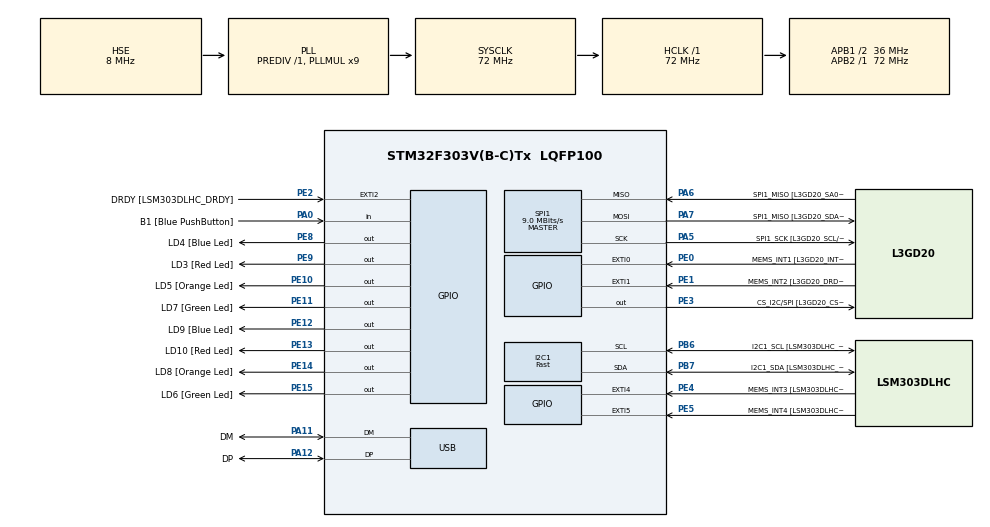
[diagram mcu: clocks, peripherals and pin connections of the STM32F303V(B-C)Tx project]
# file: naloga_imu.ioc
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I2C1.I2C_Speed_Mode=I2C_Fast
I2C1.Timing=0x0000020B
I2C1.Timing-I2C=0x2000090E
Mcu.Family=STM32F3
Mcu.Name=STM32F303V(B-C)Tx
Mcu.Package=LQFP100
NVIC.PriorityGroup=NVIC_PRIORITYGROUP_0
NVIC.USB_LP_CAN_RX0_IRQn=true\:0\:0\:false\:false\:true\:false\:true
PA0.GPIO_Label=B1 [Blue PushButton]
PA0.Signal=GPIO_Input
PA11.GPIO_Label=DM
PA11.Mode=Device
PA11.Signal=USB_DM
PA12.GPIO_Label=DP
PA12.Mode=Device
PA12.Signal=USB_DP
PA13.GPIO_Label=SWDIO
PA13.Mode=Serial_Wire
PA13.Signal=SYS_JTMS-SWDIO
PA14.GPIO_Label=SWCLK
PA14.Mode=Serial_Wire
PA14.Signal=SYS_JTCK-SWCLK
PA5.GPIO_Label=SPI1_SCK [L3GD20_SCL/SPC]
PA5.Mode=Full_Duplex_Master
PA5.Signal=SPI1_SCK
PA6.GPIO_Label=SPI1_MISO [L3GD20_SA0/SDO]
PA6.Mode=Full_Duplex_Master
PA6.Signal=SPI1_MISO
PA7.GPIO_Label=SPI1_MISO [L3GD20_SDA/SDI/SDO]
PA7.Mode=Full_Duplex_Master
PA7.Signal=SPI1_MOSI
PB3.GPIO_Label=SWO
PB3.Signal=SYS_JTDO-TRACESWO
PB6.GPIO_Label=I2C1_SCL [LSM303DLHC_SCL]
PB6.Mode=I2C
PB6.Signal=I2C1_SCL
PB7.GPIO_Label=I2C1_SDA [LSM303DLHC_SDA]
PB7.Mode=I2C
PB7.Signal=I2C1_SDA
PC14-OSC32_IN.GPIO_Label=OSC32_IN
PC14-OSC32_IN.Signal=RCC_OSC32_IN
PC15-OSC32_OUT.GPIO_Label=OSC32_OUT
PC15-OSC32_OUT.Signal=RCC_OSC32_OUT
PE0.GPIO_Label=MEMS_INT1 [L3GD20_INT1]
PE0.GPIO_ModeDefaultEXTI=GPIO_MODE_EVT_RISING
PE0.Signal=GPXTI0
PE1.GPIO_Label=MEMS_INT2 [L3GD20_DRDY/INT2]
PE1.GPIO_ModeDefaultEXTI=GPIO_MODE_EVT_RISING
PE1.Signal=GPXTI1
PE10.GPIO_Label=LD5 [Orange Led]
PE10.Signal=GPIO_Output
PE11.GPIO_Label=LD7 [Green Led]
PE11.Signal=GPIO_Output
PE12.GPIO_Label=LD9 [Blue Led]
PE12.Signal=GPIO_Output
PE13.GPIO_Label=LD10 [Red Led]
PE13.Signal=GPIO_Output
PE14.GPIO_Label=LD8 [Orange Led]
PE14.Signal=GPIO_Output
PE15.GPIO_Label=LD6 [Green Led]
PE15.Signal=GPIO_Output
PE2.GPIO_Label=DRDY [LSM303DLHC_DRDY]
PE2.GPIO_ModeDefaultEXTI=GPIO_MODE_EVT_RISING
PE2.Signal=GPXTI2
PE3.GPIO_Label=CS_I2C/SPI [L3GD20_CS_I2C/SPI]
PE3.Signal=GPIO_Output
PE4.GPIO_Label=MEMS_INT3 [LSM303DLHC_INT1]
PE4.GPIO_ModeDefaultEXTI=GPIO_MODE_EVT_RISING
PE4.Signal=GPXTI4
PE5.GPIO_Label=MEMS_INT4 [LSM303DLHC_INT2]
PE5.GPIO_ModeDefaultEXTI=GPIO_MODE_EVT_RISING
PE5.Signal=GPXTI5
PE8.GPIO_Label=LD4 [Blue Led]
PE8.Signal=GPIO_Output
PE9.GPIO_Label=LD3 [Red Led]
PE9.Signal=GPIO_Output
PF0-OSC_IN.GPIO_Label=OSC_IN
PF0-OSC_IN.Mode=HSE-External-Clock-Source
PF0-OSC_IN.Signal=RCC_OSC_IN
PF1-OSC_OUT.GPIO_Label=OSC_OUT
PF1-OSC_OUT.Signal=RCC_OSC_OUT
ProjectManager.HeapSize=0x200
ProjectManager.StackSize=0x400
ProjectManager.TargetToolchain=STM32CubeIDE
RCC.AHBFreq_Value=72000000
RCC.APB1CLKDivider=RCC_HCLK_DIV2
RCC.APB1Freq_Value=36000000
RCC.APB1TimFreq_Value=72000000
RCC.APB2Freq_Value=72000000
RCC.APB2TimFreq_Value=72000000
RCC.CortexFreq_Value=72000000
RCC.HCLKFreq_Value=72000000
RCC.HSE_VALUE=8000000
RCC.HSI_VALUE=8000000
RCC.LSE_VALUE=32768
RCC.PLLMUL=RCC_PLL_MUL9
RCC.PRESCALERUSB=RCC_USBCLKSOURCE_PLL_DIV1_5
RCC.SYSCLKFreq_VALUE=72000000
RCC.SYSCLKSourceVirtual=RCC_SYSCLKSOURCE_PLLCLK
RCC.USBFreq_Value=48000000
SPI1.BaudRatePrescaler=SPI_BAUDRATEPRESCALER_8
SPI1.BaudRatePrescaler-Full_Duplex_Master=SPI_BAUDRATEPRESCALER_2
SPI1.CLKPhase=SPI_PHASE_2EDGE
SPI1.CLKPolarity=SPI_POLARITY_HIGH
SPI1.CalculateBaudRate=9.0 MBits/s
SPI1.CalculateBaudRate-Full_Duplex_Master=24.0 MBits/s
SPI1.DataSize=SPI_DATASIZE_8BIT
SPI1.Direction=SPI_DIRECTION_2LINES
SPI1.Mode=SPI_MODE_MASTER
SPI1.Mode-Full_Duplex_Master=SPI_MODE_MASTER
SPI1.VirtualType=VM_MASTER
USB_DEVICE.CLASS_NAME_FS=CDC
USB_DEVICE.VirtualMode=Cdc
USB_DEVICE.VirtualModeFS=Cdc_FS
VP_USB_DEVICE_VS_USB_DEVICE_CDC_FS.Mode=CDC_FS
board=STM32F3DISCOVERY

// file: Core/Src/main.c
/* USER CODE BEGIN Header */
/**
  ******************************************************************************
  * @file           : main.c
  * @brief          : Main program body
  ******************************************************************************
  * @attention
  *
  * <h2><center>&copy; Copyright (c) 2021 STMicroelectronics.
  * All rights reserved.</center></h2>
  *
  * This software component is licensed by ST under BSD 3-Clause license,
  * the "License"; You may not use this file except in compliance with the
  * License. You may obtain a copy of the License at:
  *                        opensource.org/licenses/BSD-3-Clause
  *
  ******************************************************************************
  */
/* USER CODE END Header */
#include "main.h"
#include "usb_device.h"

/* USER CODE BEGIN Includes */
#include "usbd_cdc_if.h"
#include "MadgwickAHRS.h"
#include <math.h>
/* USER CODE END Includes */

/* USER CODE BEGIN PD */
#define M_PI 3.14159265358979323846f

#define MAG_X_OFFSET 0.0038163901390564424
#define MAG_Y_OFFSET -0.000156781993419
#define MAG_Z_OFFSET -0.000718401601466586

#define MAG_X_SCALE 0.02209077243785739
#define MAG_Y_SCALE 0.023881870638060895
#define MAG_Z_SCALE 0.02027771367194973

#define GYR_X_BIAS 0.0
#define GYR_Y_BIAS 0.0
#define GYR_Z_BIAS 0.0
/* USER CODE END PD */

I2C_HandleTypeDef hi2c1;

SPI_HandleTypeDef hspi1;

/* USER CODE BEGIN PV */
volatile uint8_t isr_flag = 1;
volatile uint8_t isr_acc = 1;
volatile uint8_t isr_gyr = 1;
volatile uint8_t isr_mag = 1;
/* USER CODE END PV */

void SystemClock_Config(void);
static void MX_GPIO_Init(void);
static void MX_I2C1_Init(void);
static void MX_SPI1_Init(void);
/* USER CODE BEGIN PFP */

/* USER CODE BEGIN PFP */

uint8_t i2c1_pisiRegister(uint8_t, uint8_t, uint8_t);
void i2c1_beriRegistre(uint8_t, uint8_t, uint8_t*, uint8_t);
void initLSM303DLHC(void);

uint8_t spi1_beriRegister(uint8_t);
void spi1_beriRegistre(uint8_t, uint8_t*, uint8_t);
void spi1_pisiRegister(uint8_t, uint8_t);
void initL3GD20(void);

void HAL_GPIO_EXTI_Callback(uint16_t GPIO_Pin);
/* USER CODE END PFP */

/* USER CODE BEGIN 0 */

// Pavza, s katero omogocimo pravilno delovanje avtomatskega testa
void pavza(){
  uint32_t counter = 0;
  for(counter=0; counter<600; counter++){
    asm("nop");
  }
}

////////////////////////////////////////////////////////////////////////// SPI1
///////////////////////////////////////////////////////////////////////////////////
///////////////////////////////////////////////////////////////////////////////////
uint8_t spi1_beriRegister(uint8_t reg)
{
  uint16_t buf_out, buf_in;
  reg |= 0x80; // najpomembnejsi bit na 1
  buf_out = reg; // little endian, se postavi na pravo mesto ....
  HAL_GPIO_WritePin(GPIOE, GPIO_PIN_3, GPIO_PIN_RESET);
  pavza();
  //HAL_SPI_TransmitReceive(&hspi1, (uint8_t*)&buf_out, (uint8_t*)&buf_in, 2, 2); // blocking posiljanje ....
  HAL_SPI_TransmitReceive(&hspi1, &((uint8_t*)&buf_out)[0], &((uint8_t*)&buf_in)[0], 1, 2); // razbito na dva dela, da se podaljsa cas in omogoci pravilno delovanje testa
  pavza();
  HAL_SPI_TransmitReceive(&hspi1, &((uint8_t*)&buf_out)[1], &((uint8_t*)&buf_in)[1], 1, 2); // razbito na dva dela, da se podaljsa cas in omogoci pravilno delovanje testa
  HAL_GPIO_WritePin(GPIOE, GPIO_PIN_3, GPIO_PIN_SET);
  pavza();
  return buf_in >> 8; // little endian...
}

void spi1_pisiRegister(uint8_t reg, uint8_t vrednost)
{
  uint16_t buf_out;
  buf_out = reg | (vrednost<<8); // little endian, se postavi na pravo mesto ....
  HAL_GPIO_WritePin(GPIOE, GPIO_PIN_3, GPIO_PIN_RESET);
  pavza();
  //HAL_SPI_Transmit(&hspi1, (uint8_t*)&buf_out, 2, 2); // blocking posiljanje ....
  HAL_SPI_Transmit(&hspi1, &((uint8_t*)&buf_out)[0], 1, 2); // razbito na dva dela, da se podaljsa cas in omogoci pravilno delovanje testa
  pavza();
  HAL_SPI_Transmit(&hspi1, &((uint8_t*)&buf_out)[1], 1, 2); // razbito na dva dela, da se podaljsa cas in omogoci pravilno delovanje testa
  HAL_GPIO_WritePin(GPIOE, GPIO_PIN_3, GPIO_PIN_SET);
  pavza();
}

void spi1_beriRegistre(uint8_t reg, uint8_t* buffer, uint8_t velikost)
{
  reg |= 0xC0; // najpomembnejsa bita na 1
  HAL_GPIO_WritePin(GPIOE, GPIO_PIN_3, GPIO_PIN_RESET);
  pavza();
  HAL_SPI_Transmit(&hspi1, &reg, 1, 10); // blocking posiljanje....
  pavza();
  HAL_SPI_Receive(&hspi1,  buffer, velikost, velikost); // blocking posiljanje....
  HAL_GPIO_WritePin(GPIOE, GPIO_PIN_3, GPIO_PIN_SET);
  pavza();
}

void initL3GD20()
{
  // preverimo ali smo "poklicali" pravi senzor
  uint8_t cip = spi1_beriRegister(0x0F);
  if (cip != 0xD4 && cip != 0xD3)
    for (;;);

  spi1_pisiRegister(0x20, 0x4F);// zbudi ziroskop in omogoci osi
  spi1_pisiRegister(0x22, 0x08);
  spi1_pisiRegister(0x23, 0x00);
}

/////////////////////////////////////////////////////////////////////////////////// I2C1
///////////////////////////////////////////////////////////////////////////////////
///////////////////////////////////////////////////////////////////////////////////
uint8_t i2c1_pisiRegister(uint8_t naprava, uint8_t reg, uint8_t podatek)
{
  naprava <<= 1;
  return HAL_I2C_Mem_Write(&hi2c1, naprava, reg, I2C_MEMADD_SIZE_8BIT, &podatek, 1, 10);
}

void i2c1_beriRegistre(uint8_t naprava, uint8_t reg, uint8_t* podatek, uint8_t dolzina)
{
  if ((dolzina>1)&&(naprava==0x19))  // ce je naprava 0x19 moramo postaviti ta bit, ce zelimo brati vec zlogov
    reg |= 0x80;
  naprava <<= 1;
  HAL_I2C_Mem_Read(&hi2c1, naprava, reg, I2C_MEMADD_SIZE_8BIT, podatek, dolzina, dolzina);
}

void initLSM303DLHC()
{
  HAL_Delay(10);

  // Za potrebe testa, moramo testni napravi sporociti kateri senzor imamo
  #define OLD_SENSOR 0x73 // Odkomentiramo za LSM303DLHC / stari senzor
  //#define NEW_SENSOR 0x6E // Odkomentiramo za LSM303AGR / novi senzor

  #if defined(OLD_SENSOR) && !defined(NEW_SENSOR)
  i2c1_pisiRegister(0x1e, 0x4F, OLD_SENSOR); // Povemo testni napravi, da imamo stari senzor
  #elif !defined(OLD_SENSOR) && defined(NEW_SENSOR)
  i2c1_pisiRegister(0x1e, 0x4F, NEW_SENSOR); // Povemo testni napravi, da imamo novi senzor
  #else
  for(;;); // V primeru napake, pocakamo tukaj
  #endif
  HAL_Delay(100);

  // inicializiraj pospeskometer
  i2c1_pisiRegister(0x19, 0x20, 0x57);  // zbudi pospeskometer in omogoci osi
  i2c1_pisiRegister(0x19, 0x22, 0x08);  // nastavi posodobitev samo ko se prebere vrednost ter visoko locljivost
  i2c1_pisiRegister(0x19, 0x23, 0x00);
}

void HAL_GPIO_EXTI_Callback(uint16_t GPIO_Pin) {
	if(GPIO_Pin == GPIO_PIN_1) {
		isr_flag = 1;
		isr_gyr = 1;
	}
	if(GPIO_Pin == GPIO_PIN_2) {
		isr_flag = 1;
		isr_mag = 1;
	}
	if(GPIO_Pin == GPIO_PIN_4) {
		isr_flag = 1;
		isr_acc = 1;
	}
}

/* USER CODE END 0 */

int main(void)
{

  /* MCU Configuration--------------------------------------------------------*/

  /* Reset of all peripherals, Initializes the Flash interface and the Systick. */
  HAL_Init();

  /* Configure the system clock */
  SystemClock_Config();

  /* Initialize all configured peripherals */
  MX_GPIO_Init();
  MX_I2C1_Init();
  MX_SPI1_Init();
  MX_USB_DEVICE_Init();
  /* USER CODE BEGIN 2 */
  __HAL_I2C_ENABLE(&hi2c1);
  initLSM303DLHC();

  int16_t meritev[4];
  meritev[0] = 0xaaab;// glava za zaznamek zacetek paketa
  uint8_t switch_mode = 0;
  uint8_t switch_usb = 0;

  uint16_t rawACC[3] = {0, 0, 0};
  uint16_t rawGYR[3] = {0, 0, 0};;
  uint16_t rawMAG[3] = {0, 0, 0};;

  uint16_t rawLatestIMU[10] = {0,0,0,0,0,0,0,0,0,0};
  rawLatestIMU[0] = 0xaaab;

  float boardOrientation[4] = {0.0,0.0,0.0,0.0};
  *(uint16_t *)&boardOrientation[0] = (uint16_t)0xaaab;

  float gyr_x = 0.0;
  float gyr_y = 0.0;
  float gyr_z = 0.0;

  float acc_x = 0.0;
  float acc_y = 0.0;
  float acc_z = 0.0;

  float mag_x = 0.0;
  float mag_y = 0.0;
  float mag_z = 0.0;
  /* USER CODE END 2 */

  /* Infinite loop */
  /* USER CODE BEGIN WHILE */
  while (1)
  {
	  if(isr_acc) {
		  i2c1_beriRegistre(0x19, 0x28, (uint8_t*)&rawACC[0], 6);

		  rawLatestIMU[1] = rawACC[0];
		  rawLatestIMU[2] = rawACC[1];
		  rawLatestIMU[3] = rawACC[2];

		  isr_acc = 0;
	  }
	  if(isr_gyr) {
		  spi1_beriRegistre(0x28, (uint8_t*)&rawGYR[0], 6);

		  rawLatestIMU[4] = rawGYR[0];
		  rawLatestIMU[5] = rawGYR[1];
		  rawLatestIMU[6] = rawGYR[2];

		  isr_gyr = 0;
	  }

	  if(isr_mag) {
		  i2c1_beriRegistre(0x1E, 0x03, (uint8_t*)&rawMAG[0], 6);

		  rawLatestIMU[7] = rawMAG[0];
		  rawLatestIMU[8] = rawMAG[1];
		  rawLatestIMU[9] = rawMAG[2];

		  isr_mag = 0;
	  }

	  if(switch_usb) {
		  if(switch_mode) {
			  CDC_Transmit_FS((uint8_t*)&rawLatestIMU, 20);
		  } else {
			  gyr_x = ((float)rawLatestIMU[4] / 32767.0 * 250.0 - GYR_X_BIAS) * M_PI / 180.0;
			  gyr_y = ((float)rawLatestIMU[5] / 32767.0 * 250.0 - GYR_X_BIAS) * M_PI / 180.0;
			  gyr_z = ((float)rawLatestIMU[6] / 32767.0 * 250.0 - GYR_X_BIAS) * M_PI / 180.0;

			  acc_x = (float)rawLatestIMU[1] / 32767.0 * 2.0;
			  acc_y = (float)rawLatestIMU[2] / 32767.0 * 2.0;
			  acc_z = (float)rawLatestIMU[3] / 32767.0 * 2.0;

			  mag_x = (((float)rawLatestIMU[7] / 32767.0 * 1.3) + MAG_X_OFFSET) / MAG_X_SCALE;
			  mag_y = (((float)rawLatestIMU[8] / 32767.0 * 1.3) + MAG_Y_OFFSET) / MAG_Y_SCALE;
			  mag_z = (((float)rawLatestIMU[9] / 32767.0 * 1.3) + MAG_Z_OFFSET) / MAG_Z_SCALE;

			  MadgwickAHRSupdate(-gyr_x, -gyr_y, gyr_z, acc_x, acc_y, acc_z, mag_x, mag_y, mag_z);

			  boardOrientation[1] = atan2(2*(q0*q1+q2*q3), 1-2*(q1*q1+q2*q2)) * 180/M_PI;
			  boardOrientation[2] = asin(2*(q0*q2-q3*q1)) * 180/M_PI;
			  boardOrientation[3] = atan2(2* (q0*q3+q1*q2), 1-2*(q2*q2+q3*q3)) * 180/M_PI;

			  CDC_Transmit_FS((uint8_t*)&boardOrientation, 16);
		  }

		  switch_usb = 0;
	  }
    /* USER CODE END WHILE */

  }
}

void SystemClock_Config(void)
{
  RCC_OscInitTypeDef RCC_OscInitStruct = {0};
  RCC_ClkInitTypeDef RCC_ClkInitStruct = {0};
  RCC_PeriphCLKInitTypeDef PeriphClkInit = {0};

  /** Initializes the RCC Oscillators according to the specified parameters
  * in the RCC_OscInitTypeDef structure.
  */
  RCC_OscInitStruct.OscillatorType = RCC_OSCILLATORTYPE_HSI|RCC_OSCILLATORTYPE_HSE;
  RCC_OscInitStruct.HSEState = RCC_HSE_BYPASS;
  RCC_OscInitStruct.HSEPredivValue = RCC_HSE_PREDIV_DIV1;
  RCC_OscInitStruct.HSIState = RCC_HSI_ON;
  RCC_OscInitStruct.HSICalibrationValue = RCC_HSICALIBRATION_DEFAULT;
  RCC_OscInitStruct.PLL.PLLState = RCC_PLL_ON;
  RCC_OscInitStruct.PLL.PLLSource = RCC_PLLSOURCE_HSE;
  RCC_OscInitStruct.PLL.PLLMUL = RCC_PLL_MUL9;
  if (HAL_RCC_OscConfig(&RCC_OscInitStruct) != HAL_OK)
  {
    Error_Handler();
  }
  /** Initializes the CPU, AHB and APB buses clocks
  */
  RCC_ClkInitStruct.ClockType = RCC_CLOCKTYPE_HCLK|RCC_CLOCKTYPE_SYSCLK
                              |RCC_CLOCKTYPE_PCLK1|RCC_CLOCKTYPE_PCLK2;
  RCC_ClkInitStruct.SYSCLKSource = RCC_SYSCLKSOURCE_PLLCLK;
  RCC_ClkInitStruct.AHBCLKDivider = RCC_SYSCLK_DIV1;
  RCC_ClkInitStruct.APB1CLKDivider = RCC_HCLK_DIV2;
  RCC_ClkInitStruct.APB2CLKDivider = RCC_HCLK_DIV1;

  if (HAL_RCC_ClockConfig(&RCC_ClkInitStruct, FLASH_LATENCY_2) != HAL_OK)
  {
    Error_Handler();
  }
  PeriphClkInit.PeriphClockSelection = RCC_PERIPHCLK_USB|RCC_PERIPHCLK_I2C1;
  PeriphClkInit.I2c1ClockSelection = RCC_I2C1CLKSOURCE_HSI;
  PeriphClkInit.USBClockSelection = RCC_USBCLKSOURCE_PLL_DIV1_5;
  if (HAL_RCCEx_PeriphCLKConfig(&PeriphClkInit) != HAL_OK)
  {
    Error_Handler();
  }
}

static void MX_I2C1_Init(void)
{

  hi2c1.Instance = I2C1;
  hi2c1.Init.Timing = 0x0000020B;
  hi2c1.Init.OwnAddress1 = 0;
  hi2c1.Init.AddressingMode = I2C_ADDRESSINGMODE_7BIT;
  hi2c1.Init.DualAddressMode = I2C_DUALADDRESS_DISABLE;
  hi2c1.Init.OwnAddress2 = 0;
  hi2c1.Init.OwnAddress2Masks = I2C_OA2_NOMASK;
  hi2c1.Init.GeneralCallMode = I2C_GENERALCALL_DISABLE;
  hi2c1.Init.NoStretchMode = I2C_NOSTRETCH_DISABLE;
  if (HAL_I2C_Init(&hi2c1) != HAL_OK)
  {
    Error_Handler();
  }
  /** Configure Analogue filter
  */
  if (HAL_I2CEx_ConfigAnalogFilter(&hi2c1, I2C_ANALOGFILTER_ENABLE) != HAL_OK)
  {
    Error_Handler();
  }
  /** Configure Digital filter
  */
  if (HAL_I2CEx_ConfigDigitalFilter(&hi2c1, 0) != HAL_OK)
  {
    Error_Handler();
  }

}

static void MX_SPI1_Init(void)
{

  /* SPI1 parameter configuration*/
  hspi1.Instance = SPI1;
  hspi1.Init.Mode = SPI_MODE_MASTER;
  hspi1.Init.Direction = SPI_DIRECTION_2LINES;
  hspi1.Init.DataSize = SPI_DATASIZE_8BIT;
  hspi1.Init.CLKPolarity = SPI_POLARITY_HIGH;
  hspi1.Init.CLKPhase = SPI_PHASE_2EDGE;
  hspi1.Init.NSS = SPI_NSS_SOFT;
  hspi1.Init.BaudRatePrescaler = SPI_BAUDRATEPRESCALER_8;
  hspi1.Init.FirstBit = SPI_FIRSTBIT_MSB;
  hspi1.Init.TIMode = SPI_TIMODE_DISABLE;
  hspi1.Init.CRCCalculation = SPI_CRCCALCULATION_DISABLE;
  hspi1.Init.CRCPolynomial = 7;
  hspi1.Init.CRCLength = SPI_CRC_LENGTH_DATASIZE;
  hspi1.Init.NSSPMode = SPI_NSS_PULSE_DISABLE;
  if (HAL_SPI_Init(&hspi1) != HAL_OK)
  {
    Error_Handler();
  }

}

static void MX_GPIO_Init(void)
{
  GPIO_InitTypeDef GPIO_InitStruct = {0};

  /* GPIO Ports Clock Enable */
  __HAL_RCC_GPIOE_CLK_ENABLE();
  __HAL_RCC_GPIOC_CLK_ENABLE();
  __HAL_RCC_GPIOF_CLK_ENABLE();
  __HAL_RCC_GPIOA_CLK_ENABLE();
  __HAL_RCC_GPIOB_CLK_ENABLE();

  /*Configure GPIO pin Output Level */
  HAL_GPIO_WritePin(GPIOE, CS_I2C_SPI_Pin|LD4_Pin|LD3_Pin|LD5_Pin
                          |LD7_Pin|LD9_Pin|LD10_Pin|LD8_Pin
                          |LD6_Pin, GPIO_PIN_RESET);

  /*Configure GPIO pins : DRDY_Pin MEMS_INT3_Pin MEMS_INT4_Pin MEMS_INT1_Pin
                           MEMS_INT2_Pin */
  GPIO_InitStruct.Pin = DRDY_Pin|MEMS_INT3_Pin|MEMS_INT4_Pin|MEMS_INT1_Pin
                          |MEMS_INT2_Pin;
  GPIO_InitStruct.Mode = GPIO_MODE_EVT_RISING;
  GPIO_InitStruct.Pull = GPIO_NOPULL;
  HAL_GPIO_Init(GPIOE, &GPIO_InitStruct);

  /*Configure GPIO pins : CS_I2C_SPI_Pin LD4_Pin LD3_Pin LD5_Pin
                           LD7_Pin LD9_Pin LD10_Pin LD8_Pin
                           LD6_Pin */
  GPIO_InitStruct.Pin = CS_I2C_SPI_Pin|LD4_Pin|LD3_Pin|LD5_Pin
                          |LD7_Pin|LD9_Pin|LD10_Pin|LD8_Pin
                          |LD6_Pin;
  GPIO_InitStruct.Mode = GPIO_MODE_OUTPUT_PP;
  GPIO_InitStruct.Pull = GPIO_NOPULL;
  GPIO_InitStruct.Speed = GPIO_SPEED_FREQ_LOW;
  HAL_GPIO_Init(GPIOE, &GPIO_InitStruct);

  /*Configure GPIO pin : B1_Pin */
  GPIO_InitStruct.Pin = B1_Pin;
  GPIO_InitStruct.Mode = GPIO_MODE_INPUT;
  GPIO_InitStruct.Pull = GPIO_NOPULL;
  HAL_GPIO_Init(B1_GPIO_Port, &GPIO_InitStruct);

}

void Error_Handler(void)
{
}

/************************ (C) COPYRIGHT STMicroelectronics *****END OF FILE****/
